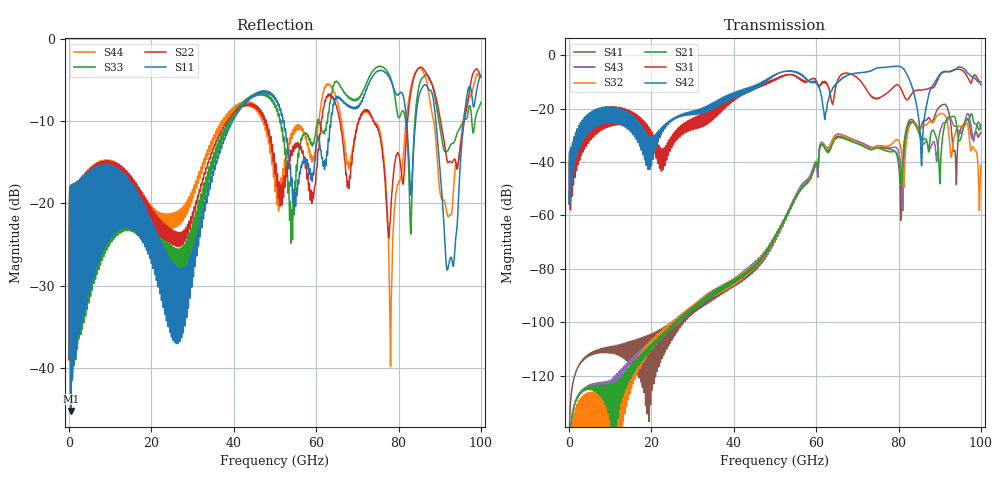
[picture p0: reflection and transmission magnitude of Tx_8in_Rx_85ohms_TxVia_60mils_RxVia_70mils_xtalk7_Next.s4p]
! Info: Touchstone file created by Circ.  Input file=Tx_8in_Rx_85ohms_TxVia_60mils_RxVia_70mils.circ
# Hz S RI R 50
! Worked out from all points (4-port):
!   10000 points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, 10 MHz to 100 GHz, reference 50 ohm
!   strongest paths, dB at 10 MHz, 25.01 GHz, 50.01 GHz, 75.01 GHz, 100 GHz:
!     S42: -55.7, -24.1, -7.2, -4.7, -10.0
!     S31: -55.8, -32.1, -8.8, -16.3, -11.1
!     S21: -167.1, -101.6, -67.8, -34.8, -26.0
!     S32: -170.3, -101.7, -68.0, -34.1, -41.3
!     S43: -154.6, -101.8, -68.3, -33.9, -27.5
!     S41: -150.3, -103.6, -68.7, -34.5, -29.0
!   lowest |S11| = -45.2 dB at 400 MHz (marker M1), VSWR 1.01, Z = 49.5 + j0.0338 ohm
!   |S11| at or under -10 dB: start of sweep to 39.7 GHz; 52.17 GHz to 63.6 GHz (11.43 GHz wide, 19.7 % of centre); 89.07 GHz to 95.86 GHz (6.792 GHz wide, 7.34 % of centre)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
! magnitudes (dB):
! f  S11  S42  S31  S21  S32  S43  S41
! 10 MHz  -38.4  -55.7  -55.8  -167.1  -170.3  -154.6  -150.3
! 400 MHz  -45.2  -39.7  -39.7  -139.6  -142.3  -139.2  -129.2
! 45.17 GHz  -6.9  -11.2  -11.4  -79.2  -79.4  -79.4  -80.5
! 65.21 GHz  -7.1  -10.0  -9.3  -30.8  -29.8  -29.5  -30.4
! 78.07 GHz  -5.0  -4.3  -13.0  -36.2  -33.6  -34.6  -35.2
! 85.57 GHz  -6.1  -41.2  -13.1  -31.8  -27.4  -31.1  -26.3
! 100 GHz  -4.4  -10.0  -11.1  -26.0  -41.3  -27.5  -29.0
